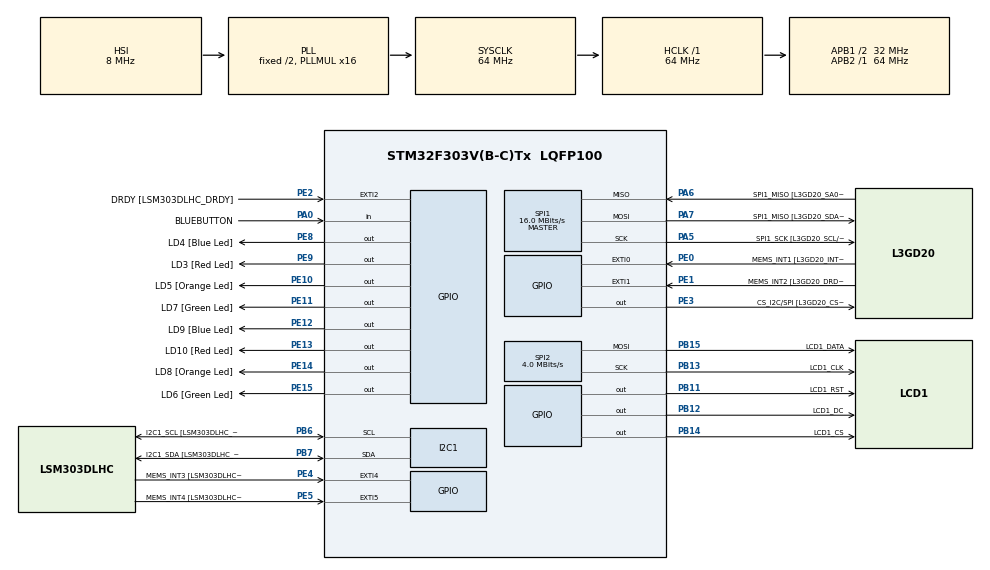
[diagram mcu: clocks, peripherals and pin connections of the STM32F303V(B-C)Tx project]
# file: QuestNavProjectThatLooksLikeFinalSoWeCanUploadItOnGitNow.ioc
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Mcu.Family=STM32F3
Mcu.Name=STM32F303V(B-C)Tx
Mcu.Package=LQFP100
NVIC.PriorityGroup=NVIC_PRIORITYGROUP_0
NVIC.TIM6_DAC_IRQn=true\:0\:0\:false\:false\:true\:true
PA0.GPIO_Label=BLUEBUTTON
PA0.GPIO_Mode=GPIO_MODE_INPUT
PA0.GPIO_PuPd=GPIO_NOPULL
PA0.Signal=GPIO_Input
PA11.GPIO_Label=DM
PA11.Signal=USB_DM
PA12.GPIO_Label=DP
PA12.Signal=USB_DP
PA13.GPIO_Label=SWDIO
PA13.Signal=SYS_JTMS-SWDIO
PA14.GPIO_Label=SWCLK
PA14.Signal=SYS_JTCK-SWCLK
PA5.GPIO_Label=SPI1_SCK [L3GD20_SCL/SPC]
PA5.GPIO_Mode=GPIO_MODE_AF_PP
PA5.GPIO_PuPd=GPIO_NOPULL
PA5.GPIO_Speed=GPIO_SPEED_FREQ_LOW
PA5.Mode=Full_Duplex_Master
PA5.Signal=SPI1_SCK
PA6.GPIO_Label=SPI1_MISO [L3GD20_SA0/SDO]
PA6.GPIO_Mode=GPIO_MODE_AF_PP
PA6.GPIO_PuPd=GPIO_NOPULL
PA6.GPIO_Speed=GPIO_SPEED_FREQ_LOW
PA6.Mode=Full_Duplex_Master
PA6.Signal=SPI1_MISO
PA7.GPIO_Label=SPI1_MISO [L3GD20_SDA/SDI/SDO]
PA7.GPIO_Mode=GPIO_MODE_AF_PP
PA7.GPIO_PuPd=GPIO_NOPULL
PA7.GPIO_Speed=GPIO_SPEED_FREQ_LOW
PA7.Mode=Full_Duplex_Master
PA7.Signal=SPI1_MOSI
PB11.GPIO_Label=LCD1_RST
PB11.Signal=GPIO_Output
PB12.GPIO_Label=LCD1_DC
PB12.Signal=GPIO_Output
PB13.GPIO_Label=LCD1_CLK
PB13.Mode=TX_Only_Simplex_Unidirect_Master
PB13.Signal=SPI2_SCK
PB14.GPIO_Label=LCD1_CS
PB14.Signal=GPIO_Output
PB15.GPIO_Label=LCD1_DATA
PB15.Mode=TX_Only_Simplex_Unidirect_Master
PB15.Signal=SPI2_MOSI
PB3.GPIO_Label=SWO
PB3.Signal=SYS_JTDO-TRACESWO
PB6.GPIO_FM6=__NULL
PB6.GPIO_Label=I2C1_SCL [LSM303DLHC_SCL]
PB6.GPIO_Mode=GPIO_MODE_AF_OD
PB6.GPIO_PuPd=GPIO_NOPULL
PB6.GPIO_Speed=GPIO_SPEED_FREQ_LOW
PB6.Mode=I2C
PB6.Signal=I2C1_SCL
PB7.GPIO_FM7=__NULL
PB7.GPIO_Label=I2C1_SDA [LSM303DLHC_SDA]
PB7.GPIO_Mode=GPIO_MODE_AF_OD
PB7.GPIO_PuPd=GPIO_NOPULL
PB7.GPIO_Speed=GPIO_SPEED_FREQ_LOW
PB7.Mode=I2C
PB7.Signal=I2C1_SDA
PC14-OSC32_IN.GPIO_Label=OSC32_IN
PC14-OSC32_IN.Signal=RCC_OSC32_IN
PC15-OSC32_OUT.GPIO_Label=OSC32_OUT
PC15-OSC32_OUT.Signal=RCC_OSC32_OUT
PE0.GPIO_Label=MEMS_INT1 [L3GD20_INT1]
PE0.GPIO_ModeDefaultEXTI=GPIO_MODE_EVT_RISING
PE0.GPIO_PuPd=GPIO_NOPULL
PE0.Signal=GPXTI0
PE1.GPIO_Label=MEMS_INT2 [L3GD20_DRDY/INT2]
PE1.GPIO_ModeDefaultEXTI=GPIO_MODE_EVT_RISING
PE1.GPIO_PuPd=GPIO_NOPULL
PE1.Signal=GPXTI1
PE10.GPIO_Label=LD5 [Orange Led]
PE10.GPIO_ModeDefaultOutputPP=GPIO_MODE_OUTPUT_PP
PE10.GPIO_PuPd=GPIO_NOPULL
PE10.GPIO_Speed=GPIO_SPEED_FREQ_LOW
PE10.Signal=GPIO_Output
PE11.GPIO_Label=LD7 [Green Led]
PE11.GPIO_ModeDefaultOutputPP=GPIO_MODE_OUTPUT_PP
PE11.GPIO_PuPd=GPIO_NOPULL
PE11.GPIO_Speed=GPIO_SPEED_FREQ_LOW
PE11.Signal=GPIO_Output
PE12.GPIO_Label=LD9 [Blue Led]
PE12.GPIO_ModeDefaultOutputPP=GPIO_MODE_OUTPUT_PP
PE12.GPIO_PuPd=GPIO_NOPULL
PE12.GPIO_Speed=GPIO_SPEED_FREQ_LOW
PE12.Signal=GPIO_Output
PE13.GPIO_Label=LD10 [Red Led]
PE13.GPIO_ModeDefaultOutputPP=GPIO_MODE_OUTPUT_PP
PE13.GPIO_PuPd=GPIO_NOPULL
PE13.GPIO_Speed=GPIO_SPEED_FREQ_LOW
PE13.Signal=GPIO_Output
PE14.GPIO_Label=LD8 [Orange Led]
PE14.GPIO_ModeDefaultOutputPP=GPIO_MODE_OUTPUT_PP
PE14.GPIO_PuPd=GPIO_NOPULL
PE14.GPIO_Speed=GPIO_SPEED_FREQ_LOW
PE14.Signal=GPIO_Output
PE15.GPIO_Label=LD6 [Green Led]
PE15.GPIO_ModeDefaultOutputPP=GPIO_MODE_OUTPUT_PP
PE15.GPIO_PuPd=GPIO_NOPULL
PE15.GPIO_Speed=GPIO_SPEED_FREQ_LOW
PE15.Signal=GPIO_Output
PE2.GPIO_Label=DRDY [LSM303DLHC_DRDY]
PE2.GPIO_ModeDefaultEXTI=GPIO_MODE_EVT_RISING
PE2.GPIO_PuPd=GPIO_NOPULL
PE2.Signal=GPXTI2
PE3.GPIO_Label=CS_I2C/SPI [L3GD20_CS_I2C/SPI]
PE3.GPIO_ModeDefaultOutputPP=GPIO_MODE_OUTPUT_PP
PE3.GPIO_PuPd=GPIO_NOPULL
PE3.GPIO_Speed=GPIO_SPEED_FREQ_LOW
PE3.Signal=GPIO_Output
PE4.GPIO_Label=MEMS_INT3 [LSM303DLHC_INT1]
PE4.GPIO_ModeDefaultEXTI=GPIO_MODE_EVT_RISING
PE4.GPIO_PuPd=GPIO_NOPULL
PE4.Signal=GPXTI4
PE5.GPIO_Label=MEMS_INT4 [LSM303DLHC_INT2]
PE5.GPIO_ModeDefaultEXTI=GPIO_MODE_EVT_RISING
PE5.GPIO_PuPd=GPIO_NOPULL
PE5.Signal=GPXTI5
PE8.GPIO_Label=LD4 [Blue Led]
PE8.GPIO_ModeDefaultOutputPP=GPIO_MODE_OUTPUT_PP
PE8.GPIO_PuPd=GPIO_NOPULL
PE8.GPIO_Speed=GPIO_SPEED_FREQ_LOW
PE8.Signal=GPIO_Output
PE9.GPIO_Label=LD3 [Red Led]
PE9.GPIO_ModeDefaultOutputPP=GPIO_MODE_OUTPUT_PP
PE9.GPIO_PuPd=GPIO_NOPULL
PE9.GPIO_Speed=GPIO_SPEED_FREQ_LOW
PE9.Signal=GPIO_Output
PF0-OSC_IN.GPIO_Label=OSC_IN
PF0-OSC_IN.Signal=RCC_OSC_IN
PF1-OSC_OUT.GPIO_Label=OSC_OUT
PF1-OSC_OUT.Signal=RCC_OSC_OUT
ProjectManager.HeapSize=0x200
ProjectManager.StackSize=0x400
ProjectManager.TargetToolchain=SW4STM32
RCC.AHBFreq_Value=64000000
RCC.APB1CLKDivider=RCC_HCLK_DIV2
RCC.APB1Freq_Value=32000000
RCC.APB1TimFreq_Value=64000000
RCC.APB2Freq_Value=64000000
RCC.APB2TimFreq_Value=64000000
RCC.CortexFreq_Value=64000000
RCC.HCLKFreq_Value=64000000
RCC.HSE_VALUE=8000000
RCC.HSI_VALUE=8000000
RCC.LSE_VALUE=32768
RCC.PLLMUL=RCC_PLL_MUL16
RCC.SYSCLKFreq_VALUE=64000000
RCC.SYSCLKSourceVirtual=RCC_SYSCLKSOURCE_PLLCLK
RCC.USBFreq_Value=64000000
SPI1.BaudRatePrescaler=SPI_BAUDRATEPRESCALER_4
SPI1.CalculateBaudRate=16.0 MBits/s
SPI1.Direction=SPI_DIRECTION_2LINES
SPI1.Mode=SPI_MODE_MASTER
SPI1.VirtualType=VM_MASTER
SPI2.BaudRatePrescaler=SPI_BAUDRATEPRESCALER_8
SPI2.CalculateBaudRate=4.0 MBits/s
SPI2.Direction=SPI_DIRECTION_2LINES
SPI2.Mode=SPI_MODE_MASTER
SPI2.VirtualType=VM_MASTER
TIM6.Period=10000
TIM6.Prescaler=63
VP_TIM6_VS_ClockSourceINT.Mode=Enable_Timer
board=STM32F3DISCOVERY

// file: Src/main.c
/**
  ******************************************************************************
  * File Name          : main.c
  * Description        : Main program body
  ******************************************************************************
  ** This notice applies to any and all portions of this file
  * that are not between comment pairs USER CODE BEGIN and
  * USER CODE END. Other portions of this file, whether
  * inserted by the user or by software development tools
  * are owned by their respective copyright owners.
  *
  * COPYRIGHT(c) 2018 STMicroelectronics
  *
  * Redistribution and use in source and binary forms, with or without modification,
  * are permitted provided that the following conditions are met:
  *   1. Redistributions of source code must retain the above copyright notice,
  *      this list of conditions and the following disclaimer.
  *   2. Redistributions in binary form must reproduce the above copyright notice,
  *      this list of conditions and the following disclaimer in the documentation
  *      and/or other materials provided with the distribution.
  *   3. Neither the name of STMicroelectronics nor the names of its contributors
  *      may be used to endorse or promote products derived from this software
  *      without specific prior written permission.
  *
  * THIS SOFTWARE IS PROVIDED BY THE COPYRIGHT HOLDERS AND CONTRIBUTORS "AS IS"
  * AND ANY EXPRESS OR IMPLIED WARRANTIES, INCLUDING, BUT NOT LIMITED TO, THE
  * IMPLIED WARRANTIES OF MERCHANTABILITY AND FITNESS FOR A PARTICULAR PURPOSE ARE
  * DISCLAIMED. IN NO EVENT SHALL THE COPYRIGHT HOLDER OR CONTRIBUTORS BE LIABLE
  * FOR ANY DIRECT, INDIRECT, INCIDENTAL, SPECIAL, EXEMPLARY, OR CONSEQUENTIAL
  * DAMAGES (INCLUDING, BUT NOT LIMITED TO, PROCUREMENT OF SUBSTITUTE GOODS OR
  * SERVICES; LOSS OF USE, DATA, OR PROFITS; OR BUSINESS INTERRUPTION) HOWEVER
  * CAUSED AND ON ANY THEORY OF LIABILITY, WHETHER IN CONTRACT, STRICT LIABILITY,
  * OR TORT (INCLUDING NEGLIGENCE OR OTHERWISE) ARISING IN ANY WAY OUT OF THE USE
  * OF THIS SOFTWARE, EVEN IF ADVISED OF THE POSSIBILITY OF SUCH DAMAGE.
  *
  ******************************************************************************
  */

#include "main.h"
#include "stm32f3xx_hal.h"
#include "i2c.h"
#include "spi.h"
#include "tim.h"
#include "gpio.h"

/* USER CODE BEGIN Includes */
#include <math.h>
#include "lcd5110.h"
#include "vector_rotate.h"
/* USER CODE END Includes */

/* USER CODE BEGIN PV */
/* Private variables ---------------------------------------------------------*/
#define SystemCoreClockInMHz (SystemCoreClock/1000000)
/* USER CODE END PV */

void SystemClock_Config(void);

/* USER CODE BEGIN PFP */
/* Private function prototypes -----------------------------------------------*/

/* USER CODE END PFP */

/* USER CODE BEGIN 0 */

// TIM6

volatile uint32_t tim6_overflows = 0;

void HAL_TIM_PeriodElapsedCallback(TIM_HandleTypeDef *htim) {
	if( htim->Instance == TIM6 ) {
		++tim6_overflows;
	}
}

inline void TIM6_reinit() {
	HAL_TIM_Base_Stop(&htim6);
	__HAL_TIM_SET_PRESCALER( &htim6, (SystemCoreClockInMHz-1) );
	__HAL_TIM_SET_COUNTER( &htim6, 0 );
	tim6_overflows = 0;
	HAL_TIM_Base_Start_IT(&htim6);
}

inline uint32_t get_tim6_us() {
	__HAL_TIM_DISABLE_IT(&htim6, TIM_IT_UPDATE);
	//__disable_irq();
	uint32_t res = tim6_overflows * 10000 + __HAL_TIM_GET_COUNTER(&htim6);
	//__enable_irq();
	__HAL_TIM_ENABLE_IT(&htim6, TIM_IT_UPDATE);
	return res;
}

inline void udelay_TIM6(uint32_t useconds) {
	uint32_t before = get_tim6_us();
	while( get_tim6_us() < before+useconds){}
}

//

//extern void initialise_monitor_handles(void);
void BSP_ACCELERO_GetXYZ(int16_t *pDataXYZ);
void BSP_GYRO_GetXYZ(float* pfData);
uint8_t BSP_ACCELERO_Init();
uint8_t BSP_GYRO_Init();
LCD5110_display lcd1;

// Calculations

void cleanAccBuffer(int16_t* buffer, double* clean) {
	clean[0] = ((double)(buffer[0]) / 16 + 15) / 1000;
	clean[1] = ((double)(buffer[1]) / 1633 + 2.06) / 1000;
	clean[2] = ((double)(buffer[2]) / 1633) / 1000;
}

void cleanGyroBuffer(float* buffer, double* clean) {
	clean[0] = ((double)(buffer[0]) + 439.88) / 1000;
	clean[1] = ((double)(buffer[1]) - 91.8575) / 1000;
	clean[2] = ((double)(buffer[2]) - 808.3075) / 1000;
}

void multiplyBySeconds(double* vector, int time) {
	double seconds = (double)time / 1000000;
	vector[0] *= seconds;
	vector[1] *= seconds;
	vector[2] *= seconds;
}

void addVectors(double* v1, double* v2) {
	v1[0] += v2[0];
	v1[1] += v2[1];
	v1[2] += v2[2];
}

void resetAll(double* currentPosition, double* currentSpeed, double* currentAngle) {
	currentPosition[0] = 0;
	currentPosition[1] = 0;
	currentPosition[2] = 0;
	currentSpeed[0] = 0;
	currentSpeed[1] = 0;
	currentSpeed[2] = 0;
	currentAngle[0] = 0;
	currentAngle[1] = 0;
	currentAngle[2] = 0;
}

void copyVector(double* v1, double* v2) {
	v1[0] = v2[0];
	v1[1] = v2[1];
	v1[2] = v2[2];
}

void averageVector(double* v1, double* v2, double* v3) {
	v1[0] = (v1[0] + v2[0] + v3[0]) / 3;
	v1[1] = (v1[1] + v2[1] + v3[1]) / 3;
	v1[2] = (v1[2] + v2[2] + v3[2]) / 3;
}

/* USER CODE END 0 */

int main(void)
{

  /* MCU Configuration----------------------------------------------------------*/

  /* Reset of all peripherals, Initializes the Flash interface and the Systick. */
  HAL_Init();

  /* Configure the system clock */
  SystemClock_Config();

  /* Initialize all configured peripherals */
  MX_GPIO_Init();
  MX_TIM6_Init();
  MX_SPI1_Init();
  MX_SPI2_Init();
  MX_I2C1_Init();

  /* USER CODE BEGIN 2 */

  // Inits
  TIM6_reinit();
  BSP_ACCELERO_Init();
  BSP_GYRO_Init();
  lcd1.hw_conf.spi_handle = &hspi2;
  lcd1.hw_conf.spi_cs_pin =  LCD1_CS_Pin;
  lcd1.hw_conf.spi_cs_port = LCD1_CS_GPIO_Port;
  lcd1.hw_conf.rst_pin =  LCD1_RST_Pin;
  lcd1.hw_conf.rst_port = LCD1_RST_GPIO_Port;
  lcd1.hw_conf.dc_pin =  LCD1_DC_Pin;
  lcd1.hw_conf.dc_port = LCD1_DC_GPIO_Port;
  lcd1.def_scr = lcd5110_def_scr;
  LCD5110_init(&lcd1.hw_conf, LCD5110_NORMAL_MODE, 0x40, 2, 3);

  //

  float gyroBuffer[3] = {0};
  double gyroClean[3] = {0};
  int16_t accBuffer[3] = {0};
  double accClean[3] = {0};

  double currentPosition[3] = {0, 0, 0};
  double currentSpeed[3] = {0, 0, 0};
  double currentAngle[3] = {0, 0, 0};
  double gravity[3] = {0, 0, -9.81};

  int lastTime = get_tim6_us();

  int iter = 0;
  double maxSpeed = 0;

  double previousSpeed2[3] = {0};
  double previousSpeed1[3] = {0};

  /* USER CODE END 2 */

  // clk   din   dc   ce   rst
  // pb13  pb15  pb12 pb14 pb11

  /* Infinite loop */
  /* USER CODE BEGIN WHILE */
  while (1)
  {
	  BSP_GYRO_GetXYZ(gyroBuffer);
	  BSP_ACCELERO_GetXYZ(accBuffer);

	  int deltaTime = get_tim6_us() - lastTime;
	  lastTime = get_tim6_us();

	  cleanAccBuffer(accBuffer, accClean);
	  cleanGyroBuffer(gyroBuffer, gyroClean);
      rotateVector(gyroClean, gravity);
	  addVectors(accClean, gravity);

	  multiplyBySeconds(accClean, deltaTime);
	  multiplyBySeconds(gyroClean, deltaTime);
      rotateVecotr(gyroClean, currentPosition);
	  addVectors(currentSpeed, accClean);

	  multiplyBySeconds(currentSpeed, deltaTime);
	  addVectors(currentPosition, currentSpeed);

	  copyVector(previousSpeed2, previousSpeed1);
	  copyVector(previousSpeed1, currentSpeed);
	  averageVector(currentSpeed, previousSpeed1, previousSpeed2);

	  if (iter == 10) {
		  LCD5110_set_cursor(0, 0, &lcd1);
		  LCD5110_clear_scr(&lcd1);
		  LCD5110_printf(&lcd1, BLACK, "X: %d\nY: %d\nZ:%d\n", (int)(previousSpeed1[0] * 1000), (int)(previousSpeed1[1] * 1000), (int)(previousSpeed1[2] * 1000));
		  LCD5110_refresh(&lcd1);
		  iter = 0;
	  } else {
		  iter++;
	  }
  /* USER CODE END WHILE */

  }

}

/** System Clock Configuration
*/
void SystemClock_Config(void)
{

  RCC_OscInitTypeDef RCC_OscInitStruct;
  RCC_ClkInitTypeDef RCC_ClkInitStruct;
  RCC_PeriphCLKInitTypeDef PeriphClkInit;

    /**Initializes the CPU, AHB and APB busses clocks
    */
  RCC_OscInitStruct.OscillatorType = RCC_OSCILLATORTYPE_HSI;
  RCC_OscInitStruct.HSIState = RCC_HSI_ON;
  RCC_OscInitStruct.HSICalibrationValue = 16;
  RCC_OscInitStruct.PLL.PLLState = RCC_PLL_ON;
  RCC_OscInitStruct.PLL.PLLSource = RCC_PLLSOURCE_HSI;
  RCC_OscInitStruct.PLL.PLLMUL = RCC_PLL_MUL16;
  if (HAL_RCC_OscConfig(&RCC_OscInitStruct) != HAL_OK)
  {
    _Error_Handler(__FILE__, __LINE__);
  }

    /**Initializes the CPU, AHB and APB busses clocks
    */
  RCC_ClkInitStruct.ClockType = RCC_CLOCKTYPE_HCLK|RCC_CLOCKTYPE_SYSCLK
                              |RCC_CLOCKTYPE_PCLK1|RCC_CLOCKTYPE_PCLK2;
  RCC_ClkInitStruct.SYSCLKSource = RCC_SYSCLKSOURCE_PLLCLK;
  RCC_ClkInitStruct.AHBCLKDivider = RCC_SYSCLK_DIV1;
  RCC_ClkInitStruct.APB1CLKDivider = RCC_HCLK_DIV2;
  RCC_ClkInitStruct.APB2CLKDivider = RCC_HCLK_DIV1;

  if (HAL_RCC_ClockConfig(&RCC_ClkInitStruct, FLASH_LATENCY_2) != HAL_OK)
  {
    _Error_Handler(__FILE__, __LINE__);
  }

  PeriphClkInit.PeriphClockSelection = RCC_PERIPHCLK_I2C1;
  PeriphClkInit.I2c1ClockSelection = RCC_I2C1CLKSOURCE_HSI;
  if (HAL_RCCEx_PeriphCLKConfig(&PeriphClkInit) != HAL_OK)
  {
    _Error_Handler(__FILE__, __LINE__);
  }

    /**Configure the Systick interrupt time
    */
  HAL_SYSTICK_Config(HAL_RCC_GetHCLKFreq()/1000);

    /**Configure the Systick
    */
  HAL_SYSTICK_CLKSourceConfig(SYSTICK_CLKSOURCE_HCLK);

  /* SysTick_IRQn interrupt configuration */
  HAL_NVIC_SetPriority(SysTick_IRQn, 0, 0);
}

void _Error_Handler(char * file, int line)
{
  while(1)
  {
  }
}

/************************ (C) COPYRIGHT STMicroelectronics *****END OF FILE****/
